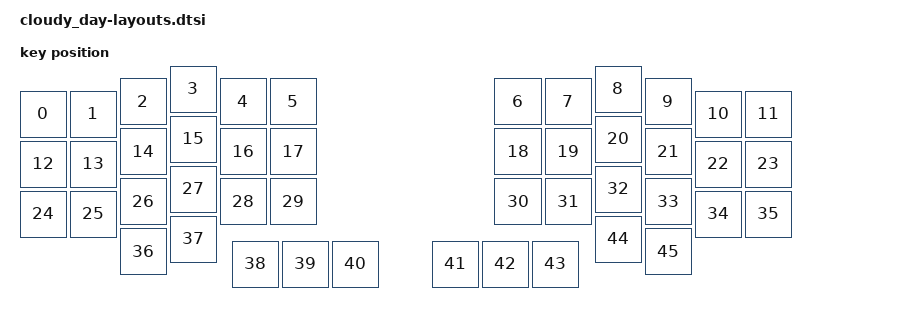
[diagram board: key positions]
#include <physical_layouts.dtsi>

/ {
    physical_layout_cloudy_day: physical_layout_cloudy_day {
        compatible = "zmk,physical-layout";
        display-name = "cloudy-day";
        keys  //                     w   h    x    y     rot    rx    ry
            = <&key_physical_attrs 100 100    0   50       0     0     0>
            , <&key_physical_attrs 100 100  100   50       0     0     0>
            , <&key_physical_attrs 100 100  200   25       0     0     0>
            , <&key_physical_attrs 100 100  300    0       0     0     0>
            , <&key_physical_attrs 100 100  400   25       0     0     0>
            , <&key_physical_attrs 100 100  500   25       0     0     0>
            , <&key_physical_attrs 100 100  950   25       0     0     0>
            , <&key_physical_attrs 100 100 1050   25       0     0     0>
            , <&key_physical_attrs 100 100 1150    0       0     0     0>
            , <&key_physical_attrs 100 100 1250   25       0     0     0>
            , <&key_physical_attrs 100 100 1350   50       0     0     0>
            , <&key_physical_attrs 100 100 1450   50       0     0     0>
            , <&key_physical_attrs 100 100    0  150       0     0     0>
            , <&key_physical_attrs 100 100  100  150       0     0     0>
            , <&key_physical_attrs 100 100  200  125       0     0     0>
            , <&key_physical_attrs 100 100  300  100       0     0     0>
            , <&key_physical_attrs 100 100  400  125       0     0     0>
            , <&key_physical_attrs 100 100  500  125       0     0     0>
            , <&key_physical_attrs 100 100  950  125       0     0     0>
            , <&key_physical_attrs 100 100 1050  125       0     0     0>
            , <&key_physical_attrs 100 100 1150  100       0     0     0>
            , <&key_physical_attrs 100 100 1250  125       0     0     0>
            , <&key_physical_attrs 100 100 1350  150       0     0     0>
            , <&key_physical_attrs 100 100 1450  150       0     0     0>
            , <&key_physical_attrs 100 100    0  250       0     0     0>
            , <&key_physical_attrs 100 100  100  250       0     0     0>
            , <&key_physical_attrs 100 100  200  225       0     0     0>
            , <&key_physical_attrs 100 100  300  200       0     0     0>
            , <&key_physical_attrs 100 100  400  225       0     0     0>
            , <&key_physical_attrs 100 100  500  225       0     0     0>
            , <&key_physical_attrs 100 100  950  225       0     0     0>
            , <&key_physical_attrs 100 100 1050  225       0     0     0>
            , <&key_physical_attrs 100 100 1150  200       0     0     0>
            , <&key_physical_attrs 100 100 1250  225       0     0     0>
            , <&key_physical_attrs 100 100 1350  250       0     0     0>
            , <&key_physical_attrs 100 100 1450  250       0     0     0>
            , <&key_physical_attrs 100 100  200  325       0     0     0>
            , <&key_physical_attrs 100 100  300  300       0     0     0>
            , <&key_physical_attrs 100 100  425  350       0     0     0>
            , <&key_physical_attrs 100 100  525  350       0     0     0>
            , <&key_physical_attrs 100 100  625  350       0     0     0>
            , <&key_physical_attrs 100 100  825  350       0     0     0>
            , <&key_physical_attrs 100 100  925  350       0     0     0>
            , <&key_physical_attrs 100 100 1025  350       0     0     0>
            , <&key_physical_attrs 100 100 1150  300       0     0     0>
            , <&key_physical_attrs 100 100 1250  325       0     0     0>
            ;
    };
};
